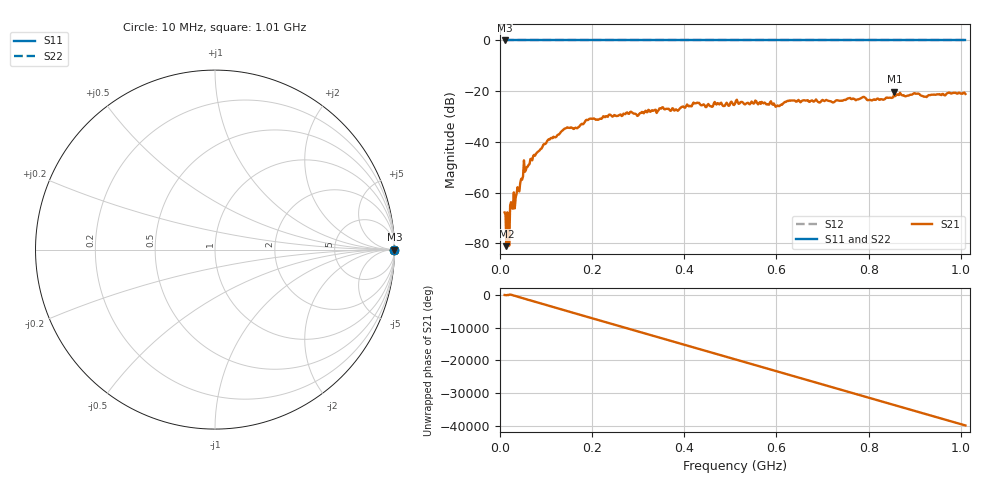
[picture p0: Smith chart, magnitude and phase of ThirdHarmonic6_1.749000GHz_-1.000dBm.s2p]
! 8/16/2025 9:05:58 PM
! C:\ANRITSUVNA\TEMP\TEMP.S2P
! CHANNEL.1
! TR.MEASUREMENT
! RAW.DATA
! RF.CORRECTION.OFF
! AVERAGING.OFF
! IF.BANDWIDTH: 5KHZ
! SWEEPTYPE:  FREQ.SWEEP(Linear)
! Reference Plane Port Info
! PORT:  PORT1  PORT2
! DISTANCE:  0  m  0  m
! TIME:  0  s  0  s
! PHASE.OFFSET:  0  deg.  0  deg.
! LOSS:  0  dB  0  dB
! REF.LOSS:  0  dB  0  dB
! REF.FREQ:  0  Hz  0  Hz
! Power Info
! POWER:  -20  dBm  -20  dBm
! EFF.POWER:  -20  dBm  -20  dBm
! SOURCE.ATTEN:  0  dB  0  dB
! TEST.ATTEN:  0  dB  0  dB
# GHZ S RI R 50.0
! FREQ.GHZ  S11RE  S11IM  S21RE  S21IM  S12RE  S12IM  S22RE  S22IM
!; PortSelection: Port_12
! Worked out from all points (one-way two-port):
!   501 points, 10 MHz to 1.01 GHz, reference 50 ohm
!   highest |S21| = -20.22 dB at 856 MHz (marker M1); lowest = -81.1 dB at 14 MHz (marker M2)
!   lowest |S11| = 0.0 dB at 10 MHz (marker M3)
!   |S11| at or under -10 dB: nowhere
!   |S22| runs from 0.0 to 0.0 dB; largest |S21 - S12| = 1.1
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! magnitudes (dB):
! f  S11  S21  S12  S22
! 10 MHz  0.0  -67.8  0.0  0.0
! 14 MHz  0.0  -81.1  0.0  0.0
! 16 MHz  0.0  -67.7  0.0  0.0
! 18 MHz  0.0  -75.5  0.0  0.0
! 20 MHz  0.0  -80.8  0.0  0.0
! 24 MHz  0.0  -63.7  0.0  0.0
! 26 MHz  0.0  -66.1  0.0  0.0
! 30 MHz  0.0  -59.9  0.0  0.0
! 54 MHz  0.0  -51.8  0.0  0.0
! 70 MHz  0.0  -47.2  0.0  0.0
! 140 MHz  0.0  -34.7  0.0  0.0
! 178 MHz  0.0  -32.8  0.0  0.0
! 236 MHz  0.0  -29.3  0.0  0.0
! 344 MHz  0.0  -27.5  0.0  0.0
! 424 MHz  0.0  -24.8  0.0  0.0
! 510 MHz  0.0  -24.9  0.0  0.0
! 602 MHz  0.0  -25.6  0.0  0.0
! 628 MHz  0.0  -23.7  0.0  0.0
! 678 MHz  0.0  -23.7  0.0  0.0
! 844 MHz  0.0  -22.6  0.0  0.0
! 856 MHz  0.0  -20.2  0.0  0.0
! 1.01 GHz  0.0  -21.1  0.0  0.0
